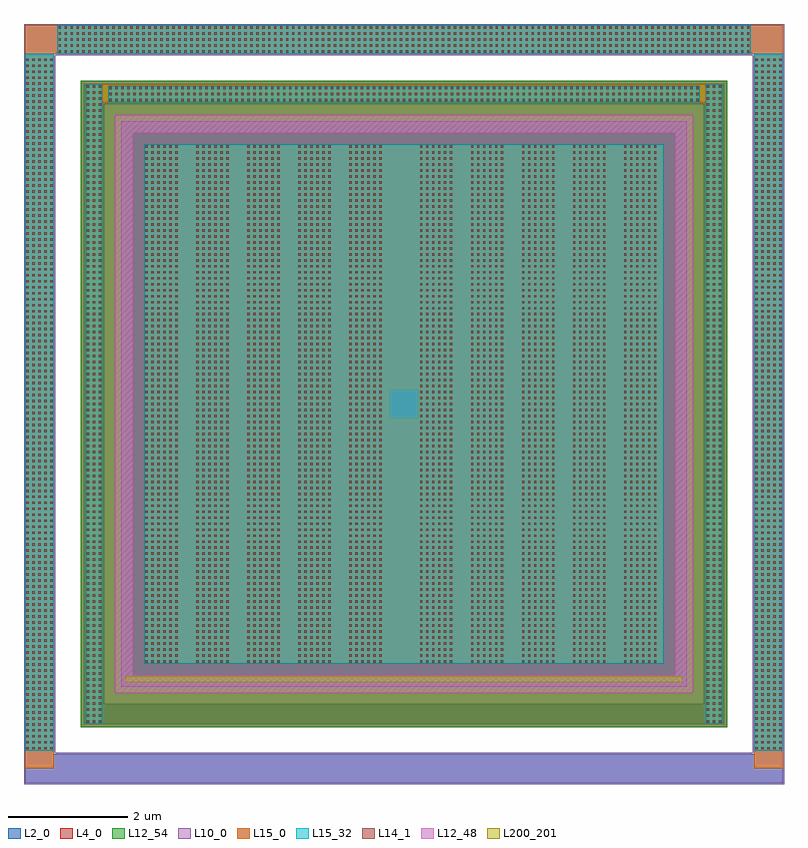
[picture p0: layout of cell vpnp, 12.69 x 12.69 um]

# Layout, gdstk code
import gdstk
lib = gdstk.Library(unit=1e-6, precision=1e-09)
def R(c, l, rs):  # rectangles x0, y0, x1, y1
    for r in rs: c.add(gdstk.rectangle(r[:2], r[2:], *l))
def A(c, l, x, y, w, h, nx, ny, dx, dy):  # array of equal rectangles
    R(c, l, [(x+i*dx, y+j*dy, x+i*dx+w, y+j*dy+h) for i in range(nx) for j in range(ny)])
L2_0 = (2, 0)
L4_0 = (4, 0)
L10_0 = (10, 0)
L12_48 = (12, 48)
L12_54 = (12, 54)
L14_1 = (14, 1)
L15_0 = (15, 0)
L15_32 = (15, 32)
L200_201 = (200, 201)

vpnp = lib.new_cell('vpnp')
R(vpnp, L2_0, [(-12.829,-4.859,-0.177,-4.379), (-12.829,-4.379,-12.349,7.313), (-0.657,-4.379,-0.177,7.313), (-11.849,-3.879,-1.157,-3.539), (-11.849,-3.539,-11.509,6.473), (-1.497,-3.539,-1.157,6.473), (-11.153,-3.183,-1.853,6.117), (-11.849,6.473,-1.157,6.813), (-12.829,7.313,-0.177,7.793)])
R(vpnp, L4_0, [(-11.905,-3.935,-1.101,6.869)])
R(vpnp, L10_0, [(-12.85,-4.88,-0.156,-4.358), (-12.85,-4.358,-12.328,7.292), (-0.678,-4.358,-0.156,7.292), (-11.223,-3.253,-1.783,6.187), (-12.85,7.292,-0.156,7.814)])
R(vpnp, L12_48, [(-11.334,-3.364,-1.672,-3.058), (-11.334,-3.058,-11.028,5.992), (-1.978,-3.058,-1.672,5.992), (-11.334,5.992,-1.672,6.298)])
R(vpnp, L12_54, [(-11.905,-3.935,-1.101,6.869)])
A(vpnp, L14_1, -12.809, -4.303, 0.04, 0.04, 5, 116, 0.1, 0.1)
A(vpnp, L14_1, -0.637, -4.303, 0.04, 0.04, 5, 116, 0.1, 0.1)
A(vpnp, L14_1, -11.799, -3.853, 0.04, 0.04, 3, 107, 0.1, 0.1)
A(vpnp, L14_1, -1.447, -3.853, 0.04, 0.04, 3, 107, 0.1, 0.1)
A(vpnp, L14_1, -10.823, -2.853, 0.04, 0.04, 6, 87, 0.1, 0.1)
A(vpnp, L14_1, -9.971, -2.853, 0.04, 0.04, 6, 87, 0.1, 0.1)
A(vpnp, L14_1, -9.119, -2.853, 0.04, 0.04, 6, 87, 0.1, 0.1)
A(vpnp, L14_1, -8.267, -2.853, 0.04, 0.04, 6, 87, 0.1, 0.1)
A(vpnp, L14_1, -7.415, -2.853, 0.04, 0.04, 6, 87, 0.1, 0.1)
A(vpnp, L14_1, -6.235, -2.853, 0.04, 0.04, 6, 87, 0.1, 0.1)
A(vpnp, L14_1, -5.383, -2.853, 0.04, 0.04, 6, 87, 0.1, 0.1)
A(vpnp, L14_1, -4.531, -2.853, 0.04, 0.04, 6, 87, 0.1, 0.1)
A(vpnp, L14_1, -3.679, -2.853, 0.04, 0.04, 6, 87, 0.1, 0.1)
A(vpnp, L14_1, -2.827, -2.853, 0.04, 0.04, 6, 87, 0.1, 0.1)
A(vpnp, L14_1, -11.423, 6.523, 0.04, 0.04, 99, 3, 0.1, 0.1)
A(vpnp, L14_1, -12.273, 7.333, 0.04, 0.04, 116, 5, 0.1, 0.1)
R(vpnp, L15_0, [(-12.827,-4.619,-12.351,7.791), (-0.655,-4.619,-0.179,7.791), (-11.817,-3.871,-11.541,6.805), (-1.465,-3.871,-1.189,6.805), (-10.841,-2.871,-2.165,1.217), (-10.841,1.217,-6.753,1.717), (-6.253,1.217,-2.165,1.717), (-10.841,1.717,-2.165,5.805), (-11.541,6.505,-1.465,6.805), (-12.351,7.315,-0.655,7.791)])
R(vpnp, L15_32, [(-12.827,-4.321,-12.351,7.315), (-0.655,-4.321,-0.179,7.315), (-11.817,-3.871,-11.541,6.805), (-1.465,-3.871,-1.189,6.805), (-10.841,-2.871,-2.165,5.805), (-11.441,6.505,-1.565,6.781), (-12.291,7.315,-0.715,7.791)])
R(vpnp, L200_201, [(-11.153,-3.183,-1.853,-3.083)])

lib.write_gds('vpnp.gds')
